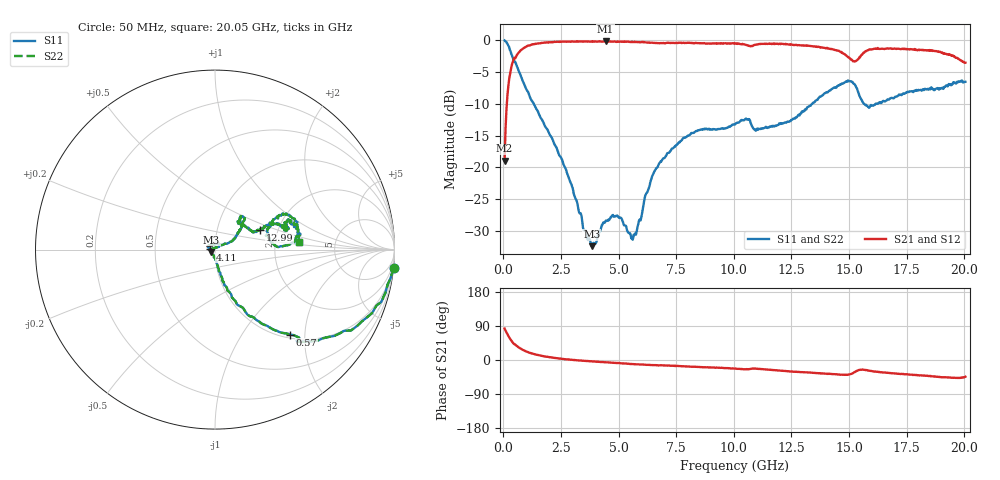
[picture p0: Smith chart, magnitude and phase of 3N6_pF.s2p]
! 500R07S3R6BV4
! Data taken April 11, 2003
! Data taken on a HP 8720C VNA using a series-through test fixture and TRL* de-embedding
#	mhz	s	ma	r	50
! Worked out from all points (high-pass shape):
!   1001 points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, 50 MHz to 20.05 GHz, reference 50 ohm
!   highest |S21| = -0.10 dB at 4.43 GHz (marker M1); lowest = -18.9 dB at 50 MHz (marker M2)
!   |S21| within 3 dB of the highest: 429.7 MHz to 15.14 GHz (14.71 GHz wide, 189 % of centre); 15.35 GHz to 19.83 GHz (4.479 GHz wide, 25.5 % of centre)
!   lowest |S11| = -32.4 dB at 3.83 GHz (marker M3), VSWR 1.05, Z = 48.1 - j1.33 ohm
!   |S11| at or under -10 dB: 1.318 GHz to 13.4 GHz (12.08 GHz wide, 164 % of centre); 15.66 GHz to 16.15 GHz (492.7 MHz wide, 3.1 % of centre)
!   |S22| runs from -32.4 to 0.0 dB; largest |S21 - S12| = 0
!   S11 on the Smith chart (normalised r, x): 50 MHz: 0, -20; 570 MHz: 1.07, -1.69; 4.11 GHz: 0.94, +0.00; 12.99 GHz: 1.61, +0.38; 20.05 GHz: 2.75, +0.31
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50  1 -5.8  0.113 83.1  0.113 83.1  1 -5.8
270  0.8498 -32.2  0.5243 57.5  0.5243 57.5  0.8498 -32.2
570  0.6321 -48.5  0.7593 37.5  0.7593 37.5  0.6321 -48.5
1370  0.3019 -68.9  0.9372 15.0  0.9372 15.0  0.3019 -68.9
2610  0.1051 -79.8  0.9783 2.5  0.9783 2.5  0.1051 -79.8
3390  0.04111 -96.1  0.9815 -1.7  0.9815 -1.7  0.04111 -96.1
3830  0.02393 -144.8  0.9813 -3.7  0.9813 -3.7  0.02393 -144.8
4110  0.02917 178.6  0.9809 -4.8  0.9809 -4.8  0.02917 178.6
4430  0.03754 163.1  0.9882 -6.1  0.9882 -6.1  0.03754 163.1
5010  0.04014 144.4  0.9766 -8.4  0.9766 -8.4  0.04014 144.4
5650  0.02936 94.8  0.9735 -10.9  0.9735 -10.9  0.02936 94.8
6730  0.1048 26.3  0.9549 -14.2  0.9549 -14.2  0.1048 26.3
8210  0.1866 39.4  0.9558 -17.6  0.9558 -17.6  0.1866 39.4
10050  0.218 51.0  0.9479 -22.4  0.9479 -22.4  0.218 51.0
12990  0.2744 23.7  0.9141 -32.1  0.9141 -32.1  0.2744 23.7
13390  0.3153 25.3  0.8998 -33.5  0.8998 -33.5  0.3153 25.3
14450  0.4247 27.1  0.8363 -37.7  0.8363 -37.7  0.4247 27.1
15090  0.4757 13.1  0.7062 -36.9  0.7062 -36.9  0.4757 13.1
15790  0.3045 13.8  0.8349 -27.3  0.8349 -27.3  0.3045 13.8
16730  0.3421 24.2  0.8639 -33.9  0.8639 -33.9  0.3421 24.2
18890  0.4123 18.8  0.8139 -44.9  0.8139 -44.9  0.4123 18.8
20050  0.4721 5.3  0.6674 -44.2  0.6674 -44.2  0.4721 5.3
